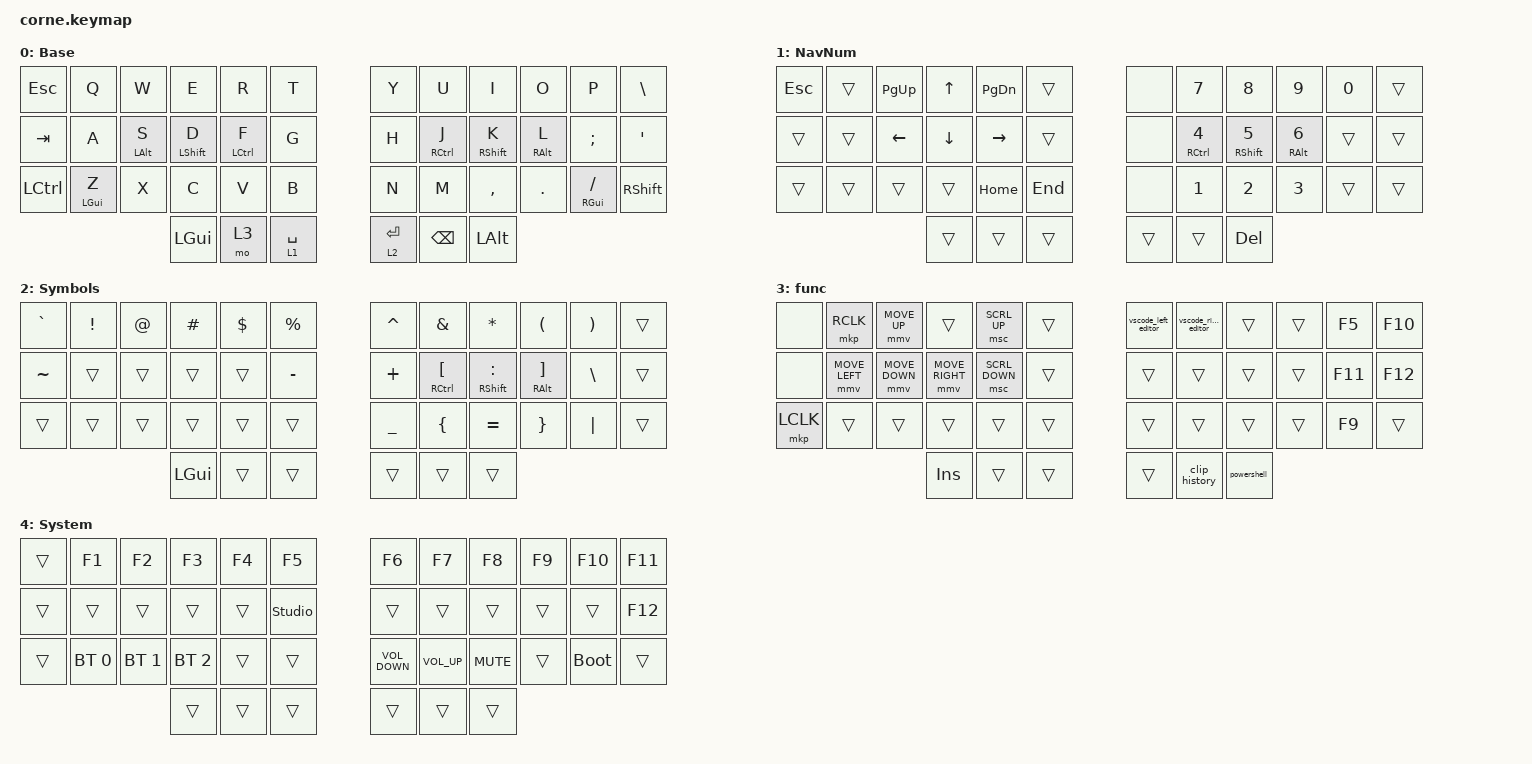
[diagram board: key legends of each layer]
#include "zmk-helpers/helper.h"
#include "zmk-helpers/key-labels/42.h"

#define ZMK_POINTING_DEFAULT_MOVE_VAL 1500  // default: 600
#define ZMK_POINTING_DEFAULT_SCRL_VAL 25    // default: 10

#include <behaviors.dtsi>
#include <dt-bindings/zmk/bt.h>
#include <dt-bindings/zmk/keys.h>
#include <dt-bindings/zmk/pointing.h>

#define KEYS_L LT0 LT1 LT2 LT3 LT4 LM0 LM1 LM2 LM3 LM4 LB0 LB1 LB2 LB3 LB4
#define KEYS_R RT0 RT1 RT2 RT3 RT4 RM0 RM1 RM2 RM3 RM4 RB0 RB1 RB2 RB3 RB4
#define KEYS_T LH2 LH1 LH0 RH0 RH1 RH2
#define DEF 0
#define NAV 1
#define SYM 2
#define ADJ 3
#define EXTRA 4
#define HM_TAPPING_TERM 300
#define HM_TAPPING_TERM_FAST 200
#define HM_PRIOR_IDLE 150

/ {
    behaviors {
        hm: homerow_mods {
            compatible = "zmk,behavior-hold-tap";
            label = "HOMEROW_MODS";
            #binding-cells = <2>;
            tapping-term-ms = <300>;
            flavor = "balanced";
            bindings = <&kp>, <&kp>;

            quick-tap-ms = <200>;
            require-prior-idle-ms = <90>;
        };

        // Positional Homerow mods
        // Homerow mods that prevent accidental activations when rolling keys,
        // such as when typing `st` or `ne` on colemak-dh layouts or `as` on
        // qwerty.
        //
        // Works by only allowing a mod to activate within tapping-term if
        // it's on the opposite side of the keyboard or on the same side thumb
        // keys.
        // Further optimization using urob's timerless homerow mods method:
        // https://github.com/urob/zmk-config#timeless-homerow-mods
        // Positional Homerow mods for shift
        // Use faster tapping term and disable some features that may
        // cause false negatives.

        hm_shift_l: hm_shift_l {
            compatible = "zmk,behavior-hold-tap";
            #binding-cells = <2>;
            bindings = <&kp>, <&kp>;

            flavor = "tap-preferred";
            tapping-term-ms = <190>;

            //quick-tap-ms = <125>;

            require-prior-idle-ms = <100>;

            // hold-trigger-key-positions = <KEYS_R KEYS_T>;
            // hold-trigger-on-release;

            quick-tap-ms = <150>;
        };

        hm_shift_r: hm_shift_r {
            compatible = "zmk,behavior-hold-tap";
            #binding-cells = <2>;
            bindings = <&kp>, <&kp>;

            flavor = "tap-preferred";
            tapping-term-ms = <190>;

            //quick-tap-ms = <125>;

            require-prior-idle-ms = <100>;

            // hold-trigger-key-positions = <KEYS_L KEYS_T>;
            // hold-trigger-on-release;

            quick-tap-ms = <150>;
        };

        // Positional Homerow mods
        // Homerow mods that prevent accidental activations when rolling keys,
        // such as when typing `st` or `ne` on colemak-dh layouts or `as` on
        // qwerty.
        //
        // Works by only allowing a mod to activate within tapping-term if
        // it's on the opposite side of the keyboard or on the same side thumb
        // keys.
        // Further optimization using urob's timerless homerow mods method:
        // https://github.com/urob/zmk-config#timeless-homerow-mods
        // Positional Homerow mods for shift
        // Use faster tapping term and disable some features that may
        // cause false negatives.

        para: para {
            compatible = "zmk,behavior-tap-dance";
            label = "PARA";
            #binding-cells = <0>;
            bindings = <&kp LEFT_PARENTHESIS>, <&kp RIGHT_PARENTHESIS>;
        };

        caps: caps {
            compatible = "zmk,behavior-caps-word";
            label = "CAPS";
            #binding-cells = <0>;
            continue-list = <MINUS BACKSPACE>;
        };

        paraless: paraless {
            compatible = "zmk,behavior-mod-morph";
            label = "PARALESS";
            bindings = <&kp LEFT_PARENTHESIS>, <&kp LESS_THAN>;

            #binding-cells = <0>;
            mods = <(MOD_LSFT)>;
        };

        paragreat: paragreat {
            compatible = "zmk,behavior-mod-morph";
            label = "PARAGREAT";
            bindings = <&kp RIGHT_PARENTHESIS>, <&kp GREATER_THAN>;

            #binding-cells = <0>;
            mods = <(MOD_LSFT)>;
        };
    };

    macros {
        browsertab: browsertab {
            compatible = "zmk,behavior-macro";
            #binding-cells = <0>;
            bindings =
                <&macro_press>,
                <&kp LCTRL>,
                <&macro_tap>,
                <&kp TAB>,
                <&macro_release>,
                <&kp LCTRL>;
        };

        vscode_left_editor: vscode_left_editor {
            compatible = "zmk,behavior-macro";
            #binding-cells = <0>;
            bindings =
                <&macro_press>,
                <&kp LEFT_CONTROL>,
                <&macro_tap>,
                <&kp K>,
                <&macro_tap>,
                <&kp LEFT>,
                <&macro_release>,
                <&kp LEFT_CONTROL>;

            label = "vscode_left_editor";
        };

        vscode_right_editor: vscode_right_editor {
            compatible = "zmk,behavior-macro";
            #binding-cells = <0>;
            bindings =
                <&macro_press>,
                <&kp LEFT_CONTROL>,
                <&macro_tap>,
                <&kp K>,
                <&macro_tap>,
                <&kp RIGHT>,
                <&macro_release>,
                <&kp LEFT_CONTROL>;

            label = "VSCODE_RIGHT_EDITOR";
        };

        clip_history: clip_history {
            compatible = "zmk,behavior-macro";
            #binding-cells = <0>;
            bindings =
                <&macro_press>,
                <&kp LEFT_WIN>,
                <&macro_tap>,
                <&kp V>,
                <&macro_release>,
                <&kp LEFT_GUI>;

            label = "CLIP_HISTORY";
        };

        powershell: powershell {
            compatible = "zmk,behavior-macro";
            #binding-cells = <0>;
            bindings =
                <&macro_press>,
                <&kp LEFT_WIN>,
                <&macro_tap>,
                <&kp R>,
                <&macro_release>,
                <&kp LEFT_WIN>,
                <&macro_tap>,
                <&kp P &kp O &kp W &kp E &kp R &kp S &kp H &kp E &kp L &kp L &kp ENTER>;

            label = "POWERSHELL";
        };
    };

    combos {
        compatible = "zmk,combos";

        escape {
            bindings = <&kp ESCAPE>;
            key-positions = <13 17>;
        };

        perc {
            bindings = <&kp PERCENT>;
            key-positions = <5 17>;
        };

        equal {
            bindings = <&kp EQUAL>;
            key-positions = <8 9>;
        };

        dollar {
            bindings = <&kp DOLLAR>;
            key-positions = <4 16>;
        };

        pound {
            bindings = <&kp POUND>;
            key-positions = <3 15>;
        };

        at {
            bindings = <&kp AT>;
            key-positions = <2 14>;
        };

        backslash {
            bindings = <&kp BACKSLASH>;
            key-positions = <15 27>;
        };

        star {
            bindings = <&kp STAR>;
            key-positions = <8 20>;
        };

        slash {
            bindings = <&kp SLASH>;
            key-positions = <32 20>;
        };

        amps {
            bindings = <&kp AMPS>;
            key-positions = <7 19>;
        };

        underscore {
            bindings = <&kp UNDER>;
            key-positions = <6 18>;
        };

        leftbrack {
            bindings = <&kp LEFT_BRACKET>;
            key-positions = <31 32>;
        };

        rightbrack {
            bindings = <&kp RIGHT_BRACKET>;
            key-positions = <33 32>;
        };

        para-less {
            bindings = <&paraless>;
            key-positions = <26 27>;
        };

        para-great {
            bindings = <&paragreat>;
            key-positions = <27 28>;
        };

        colon {
            bindings = <&kp COLON>;
            key-positions = <7 8>;
        };

        plus {
            bindings = <&kp PLUS>;
            key-positions = <10 22>;
        };

        subract {
            bindings = <&kp KP_SUBTRACT>;
            key-positions = <1 13>;
        };

        bt_clr_all {
            bindings = <&bt BT_CLR_ALL>;
            key-positions = <0 5 6 11 3 8 38 39>;
        };

        btclear {
            bindings = <&bt BT_CLR>;
            key-positions = <24 12 38 39 0>;
        };
    };

    //

    keymap {
        compatible = "zmk,keymap";

        DEF {
            display-name = "Base";

            // -----------------------------------------------------------------------------------------
            // |  Q  |  W  |  E  |  R  |  T  |   |  Y  |  U   |  I  |  O  |  P  |
            // |  A  |  S  |  D  |  F  |  G  |   |  H  |  J   |  K  |  L  |  ;  |
            // |  Z  |  X  |  C  |  V  |  B  |   |  N  |  M   |  ,  |  .  |  /  |
            // | GUI | CTRL | SHFT | LWR | SPC |   | ENT | RSE  | BKSP | ALT | ESC |

            bindings = <
&kp ESCAPE  &kp Q           &kp W           &kp E                     &kp R        &kp T          &kp Y      &kp U                &kp I                      &kp O            &kp P               &kp BACKSLASH
&kp TAB     &kp A           &hm LEFT_ALT S  &hm_shift_l LEFT_SHIFT D  &hm LCTRL F  &kp G          &kp H      &hm RIGHT_CONTROL J  &hm_shift_r RIGHT_SHIFT K  &hm RIGHT_ALT L  &kp SEMICOLON       &kp SQT
&kp LCTRL   &hm LEFT_GUI Z  &kp X           &kp C                     &kp V        &kp B          &kp N      &kp M                &kp COMMA                  &kp DOT          &hm RIGHT_GUI FSLH  &kp RIGHT_SHIFT
                                            &kp LGUI                  &mo 3        &lt 1 SPACE    &lt 2 RET  &kp BACKSPACE        &kp LEFT_ALT
            >;
        };

        NAV {
            display-name = "NavNum";

            // -----------------------------------------------------------------------------------------
            // |  TAB |  1  |  2  |  3  |  4  |  5  |   |  6  |  7  |  8  |  9  |  0  | BKSP |
            // | BTCLR| BT1 | BT2 | BT3 | BT4 | BT5 |   | LFT | DWN |  UP | RGT |     |      |
            // | SHFT |     |     |     |     |     |   |     |     |     |     |     |      |
            // | GUI | CTRL | SHFT | LWR | SPC |   | ENT | RSE  | BKSP | ALT | ESC |

            bindings = <
&kp ESC  &trans  &kp PG_UP  &kp UP    &kp PG_DN  &trans     &none   &kp N7                &kp N8                      &kp N9                  &kp N0  &trans
&trans   &trans  &kp LEFT   &kp DOWN  &kp RIGHT  &trans     &none   &hm RIGHT_CONTROL N4  &hm_shift_r RIGHT_SHIFT N5  &hm RIGHT_ALT NUMBER_6  &trans  &trans
&trans   &trans  &trans     &trans    &kp HOME   &kp END    &none   &kp NUMBER_1          &kp N2                      &kp N3                  &trans  &trans
                            &trans    &trans     &trans     &trans  &trans                &kp DELETE
            >;
        };

        SYM {
            display-name = "Symbols";

            // -----------------------------------------------------------------------------------------
            // |  TAB |  !  |  @  |  #  |  $  |  %  |   |  ^  |  &  |  *  |  (  |  )  | BKSP |
            // | CTRL |     |     |     |     |     |   |  -  |  =  |  [  |  ]  |  \  |  `   |
            // | SHFT |     |     |     |     |     |   |  _  |  +  |  {  |  }  | "|" |  ~   |
            //                    | GUI |     | SPC |   | ENT |     | ALT |

            bindings = <
&kp GRAVE  &kp EXCL  &kp AT  &kp HASH  &kp DLLR  &kp PRCNT    &kp CARET  &kp AMPERSAND                   &kp STAR                       &kp LEFT_PARENTHESIS         &kp RIGHT_PARENTHESIS  &trans
&kp TILDE  &trans    &trans  &trans    &trans    &kp MINUS    &kp PLUS   &hm RIGHT_CONTROL LEFT_BRACKET  &hm_shift_r RIGHT_SHIFT COLON  &hm RIGHT_ALT RIGHT_BRACKET  &kp BACKSLASH          &trans
&trans     &trans    &trans  &trans    &trans    &trans       &kp UNDER  &kp LEFT_BRACE                  &kp EQUAL                      &kp RIGHT_BRACE              &kp PIPE               &trans
                             &kp LGUI  &trans    &trans       &trans     &trans                          &trans
            >;
        };

        func {
            display-name = "func";
            bindings = <
&none      &mkp RCLK       &mmv MOVE_UP    &trans           &msc SCRL_UP    &trans    &vscode_left_editor  &vscode_right_editor  &trans       &trans  &kp F5   &kp F10
&none      &mmv MOVE_LEFT  &mmv MOVE_DOWN  &mmv MOVE_RIGHT  &msc SCRL_DOWN  &trans    &trans               &trans                &trans       &trans  &kp F11  &kp F12
&mkp LCLK  &trans          &trans          &trans           &trans          &trans    &trans               &trans                &trans       &trans  &kp F9   &trans
                                           &kp INS          &trans          &trans    &trans               &clip_history         &powershell
            >;
        };

        SYS {
            display-name = "System";
            bindings = <
&trans  &kp F1        &kp F2        &kp F3        &kp F4  &kp F5            &kp F6             &kp F7           &kp F8      &kp F9  &kp F10      &kp F11
&trans  &trans        &trans        &trans        &trans  &studio_unlock    &trans             &trans           &trans      &trans  &trans       &kp F12
&trans  &bt BT_SEL 0  &bt BT_SEL 1  &bt BT_SEL 2  &trans  &trans            &kp C_VOLUME_DOWN  &kp C_VOLUME_UP  &kp C_MUTE  &trans  &bootloader  &trans
                                    &trans        &trans  &trans            &trans             &trans           &trans
            >;
        };
    };

    conditional_layers {
        compatible = "zmk,conditional-layers";

        l3 {
            if-layers = <1 2>;
            then-layer = <4>;
        };
    };
};
